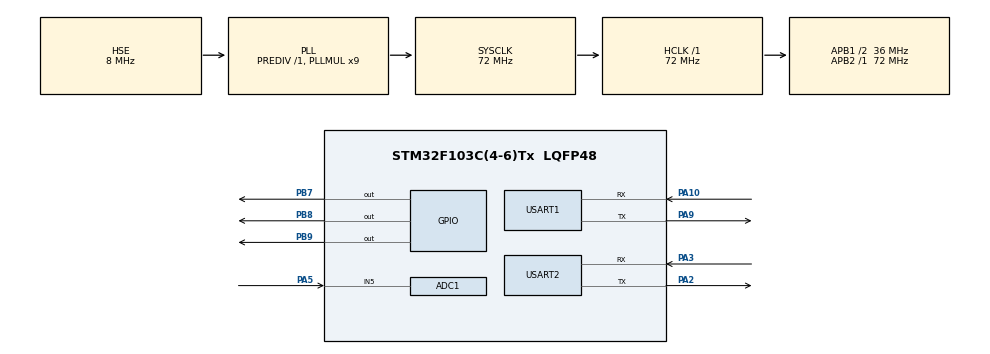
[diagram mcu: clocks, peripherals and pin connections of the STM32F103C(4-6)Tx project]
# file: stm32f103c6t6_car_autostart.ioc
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ADC1.Channel-0\#ChannelRegularConversion=ADC_CHANNEL_5
ADC1.ContinuousConvMode=ENABLE
ADC1.NbrOfConversionFlag=1
ADC1.Rank-0\#ChannelRegularConversion=1
ADC1.SamplingTime-0\#ChannelRegularConversion=ADC_SAMPLETIME_13CYCLES_5
ADC1.master=1
Mcu.Family=STM32F1
Mcu.Name=STM32F103C(4-6)Tx
Mcu.Package=LQFP48
NVIC.ADC1_2_IRQn=true\:0\:0\:false\:false\:true\:true\:true\:true
NVIC.PriorityGroup=NVIC_PRIORITYGROUP_4
PA10.Mode=Asynchronous
PA10.Signal=USART1_RX
PA2.Mode=Asynchronous
PA2.Signal=USART2_TX
PA3.Mode=Asynchronous
PA3.Signal=USART2_RX
PA5.Signal=ADCx_IN5
PA9.Mode=Asynchronous
PA9.Signal=USART1_TX
PB7.Signal=GPIO_Output
PB8.Signal=GPIO_Output
PB9.Signal=GPIO_Output
PD0-OSC_IN.Mode=HSE-External-Oscillator
PD0-OSC_IN.Signal=RCC_OSC_IN
PD1-OSC_OUT.Mode=HSE-External-Oscillator
PD1-OSC_OUT.Signal=RCC_OSC_OUT
ProjectManager.HeapSize=0x200
ProjectManager.StackSize=0x400
ProjectManager.TargetToolchain=Makefile
RCC.ADCPresc=RCC_ADCPCLK2_DIV6
RCC.AHBFreq_Value=72000000
RCC.APB1CLKDivider=RCC_HCLK_DIV2
RCC.APB1Freq_Value=36000000
RCC.APB1TimFreq_Value=72000000
RCC.APB2Freq_Value=72000000
RCC.APB2TimFreq_Value=72000000
RCC.HCLKFreq_Value=72000000
RCC.PLLMUL=RCC_PLL_MUL9
RCC.PLLSourceVirtual=RCC_PLLSOURCE_HSE
RCC.SYSCLKFreq_VALUE=72000000
RCC.SYSCLKSource=RCC_SYSCLKSOURCE_PLLCLK
RCC.USBFreq_Value=72000000
SH.ADCx_IN5.0=ADC1_IN5,IN5
USART1.VirtualMode=VM_ASYNC
USART2.VirtualMode=VM_ASYNC
VP_SYS_VS_ND.Mode=No_Debug
board=custom

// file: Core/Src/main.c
/* USER CODE BEGIN Header */
/* USER CODE END Header */
#include "main.h"
#include "adc.h"
#include "usart.h"
#include "gpio.h"

/* USER CODE BEGIN Includes */
#include "SIM800.h"
#include "engine.h"
#include "relay.h"
#include <string.h>
/* USER CODE END Includes */

/* USER CODE BEGIN PM */
#define uart(x) HAL_UART_Transmit(&huart1, (uint8_t *) x, strlen(x), 1000);
/* USER CODE END PM */

/* USER CODE BEGIN PV */
uint8_t debug_byte[1] = {0};
/* USER CODE END PV */

void SystemClock_Config(void);

/* USER CODE BEGIN 0 */
void HAL_UART_RxCpltCallback(UART_HandleTypeDef *huart) {
	if (huart == UART_SIM800) {
		Sim800_RxCallBack();
	}
    if (huart == &huart1) {
        switch (debug_byte[0]) {
        case 'q':
            ignition_on();
            break;
        case 'w':
            ignition_off();
            break;
        case 'e':
            starter_on();
            break;
        case 'r':
            starter_off();
            break;
        case 't':
			indicator_on();
            break;
        case 'y':
            indicator_off();
            break;
        }
		HAL_UART_Receive_IT(&huart1, debug_byte, 1);
    }
}
/* USER CODE END 0 */

int main(void)
{

  /* MCU Configuration--------------------------------------------------------*/

  /* Reset of all peripherals, Initializes the Flash interface and the Systick. */
  HAL_Init();

  /* Configure the system clock */
  SystemClock_Config();

  /* Initialize all configured peripherals */
  MX_GPIO_Init();
  MX_USART2_UART_Init();
  MX_ADC1_Init();
  MX_USART1_UART_Init();
  /* USER CODE BEGIN 2 */
	HAL_ADCEx_Calibration_Start(&hadc1);
	HAL_ADC_Start(&hadc1);

	while (SIM800_Init() != 6);

	if (engineStarted()) ignition_on();

    HAL_UART_Receive_IT(&huart1, debug_byte, 1);

  /* USER CODE END 2 */

  /* Infinite loop */
  /* USER CODE BEGIN WHILE */
	uint32_t second_timer = 0;
	uint8_t sms_check = 0;
	char sms_count = 0;
	char sms_received = 0;

	while (1) {
		if (HAL_GetTick() - second_timer > 1000) {
			second_timer = HAL_GetTick();
			sms_check++;
		}
		if (sms_check > 30) { // check sms one time at 30 sec
			sms_check = 0;
			sms_received = SIM800_CheckSMS();
			if (sms_received) {
				for (sms_count = sms_received; sms_count > '0'; sms_count--) {
					switch (SIM800_ParseSMS(sms_count)) {
					case 1: // start
						if (startEngine()) {
							SIM800_Call();
						}
						break;
					case 2: // stop
						if (!stopEngine()) {
							while (engineStarted())
								SIM800_Call();
						}
						break;
					}
				}
				while (!SIM800_DelAllSMS()) {
					HAL_Delay(100);
				}
			}
		}

    /* USER CODE END WHILE */

	}
}

void SystemClock_Config(void)
{
  RCC_OscInitTypeDef RCC_OscInitStruct = {0};
  RCC_ClkInitTypeDef RCC_ClkInitStruct = {0};
  RCC_PeriphCLKInitTypeDef PeriphClkInit = {0};

  /** Initializes the RCC Oscillators according to the specified parameters
  * in the RCC_OscInitTypeDef structure.
  */
  RCC_OscInitStruct.OscillatorType = RCC_OSCILLATORTYPE_HSE;
  RCC_OscInitStruct.HSEState = RCC_HSE_ON;
  RCC_OscInitStruct.HSEPredivValue = RCC_HSE_PREDIV_DIV1;
  RCC_OscInitStruct.HSIState = RCC_HSI_ON;
  RCC_OscInitStruct.PLL.PLLState = RCC_PLL_ON;
  RCC_OscInitStruct.PLL.PLLSource = RCC_PLLSOURCE_HSE;
  RCC_OscInitStruct.PLL.PLLMUL = RCC_PLL_MUL9;
  if (HAL_RCC_OscConfig(&RCC_OscInitStruct) != HAL_OK)
  {
    Error_Handler();
  }

  /** Initializes the CPU, AHB and APB buses clocks
  */
  RCC_ClkInitStruct.ClockType = RCC_CLOCKTYPE_HCLK|RCC_CLOCKTYPE_SYSCLK
                              |RCC_CLOCKTYPE_PCLK1|RCC_CLOCKTYPE_PCLK2;
  RCC_ClkInitStruct.SYSCLKSource = RCC_SYSCLKSOURCE_PLLCLK;
  RCC_ClkInitStruct.AHBCLKDivider = RCC_SYSCLK_DIV1;
  RCC_ClkInitStruct.APB1CLKDivider = RCC_HCLK_DIV2;
  RCC_ClkInitStruct.APB2CLKDivider = RCC_HCLK_DIV1;

  if (HAL_RCC_ClockConfig(&RCC_ClkInitStruct, FLASH_LATENCY_2) != HAL_OK)
  {
    Error_Handler();
  }
  PeriphClkInit.PeriphClockSelection = RCC_PERIPHCLK_ADC;
  PeriphClkInit.AdcClockSelection = RCC_ADCPCLK2_DIV6;
  if (HAL_RCCEx_PeriphCLKConfig(&PeriphClkInit) != HAL_OK)
  {
    Error_Handler();
  }
}

void Error_Handler(void)
{
}
